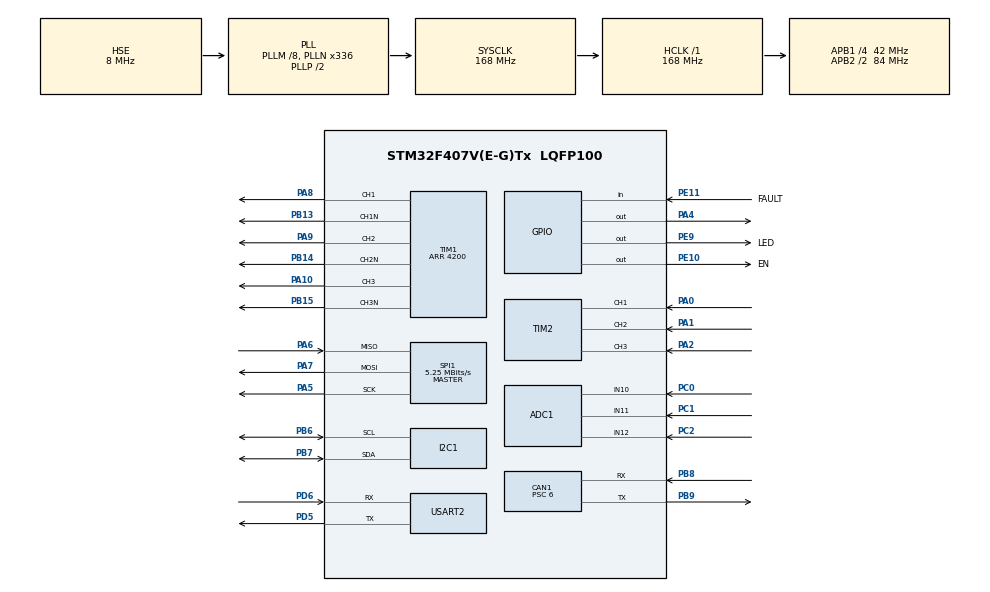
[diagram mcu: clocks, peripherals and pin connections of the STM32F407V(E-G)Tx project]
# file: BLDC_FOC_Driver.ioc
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ADC1.Channel-2\#ChannelRegularConversion=ADC_CHANNEL_10
ADC1.DMAContinuousRequests=ENABLE
ADC1.EOCSelection=ADC_EOC_SEQ_CONV
ADC1.NbrOfConversionFlag=1
ADC1.Rank-2\#ChannelRegularConversion=1
ADC1.SamplingTime-2\#ChannelRegularConversion=ADC_SAMPLETIME_3CYCLES
ADC1.ScanConvMode=ENABLE
ADC1.master=1
CAN1.BS1=CAN_BS1_10TQ
CAN1.BS2=CAN_BS2_3TQ
CAN1.CalculateBaudRate=500000
CAN1.CalculateTimeBit=2000
CAN1.CalculateTimeQuantum=142.85714285714286
CAN1.Prescaler=6
CAN1.SJW=CAN_SJW_1TQ
Dma.ADC1.0.Direction=DMA_PERIPH_TO_MEMORY
Dma.ADC1.0.FIFOMode=DMA_FIFOMODE_DISABLE
Dma.ADC1.0.Instance=DMA2_Stream0
Dma.ADC1.0.MemDataAlignment=DMA_MDATAALIGN_HALFWORD
Dma.ADC1.0.MemInc=DMA_MINC_ENABLE
Dma.ADC1.0.Mode=DMA_NORMAL
Dma.ADC1.0.PeriphDataAlignment=DMA_PDATAALIGN_HALFWORD
Dma.ADC1.0.PeriphInc=DMA_PINC_DISABLE
Dma.ADC1.0.Priority=DMA_PRIORITY_HIGH
Dma.Request0=ADC1
Mcu.Family=STM32F4
Mcu.Name=STM32F407V(E-G)Tx
Mcu.Package=LQFP100
NVIC.ADC_IRQn=true\:2\:0\:true\:false\:true\:true\:true\:true
NVIC.CAN1_RX0_IRQn=true\:2\:0\:true\:false\:true\:true\:true\:true
NVIC.DMA2_Stream0_IRQn=true\:0\:0\:false\:false\:true\:false\:true\:true
NVIC.PriorityGroup=NVIC_PRIORITYGROUP_4
NVIC.TIM1_UP_TIM10_IRQn=true\:0\:0\:false\:false\:true\:true\:true\:true
NVIC.TIM2_IRQn=true\:1\:0\:true\:false\:true\:true\:true\:true
NVIC.TIM6_DAC_IRQn=true\:3\:0\:true\:false\:true\:true\:true\:true
NVIC.USART2_IRQn=true\:2\:0\:true\:false\:true\:true\:true\:true
PA0-WKUP.Signal=S_TIM2_CH1_ETR
PA1.Signal=S_TIM2_CH2
PA10.Signal=S_TIM1_CH3
PA13.Mode=Serial_Wire
PA13.Signal=SYS_JTMS-SWDIO
PA14.Mode=Serial_Wire
PA14.Signal=SYS_JTCK-SWCLK
PA2.Signal=S_TIM2_CH3
PA4.GPIO_Speed=GPIO_SPEED_FREQ_HIGH
PA4.PinState=GPIO_PIN_RESET
PA4.Signal=GPIO_Output
PA5.Mode=Full_Duplex_Master
PA5.Signal=SPI1_SCK
PA6.Mode=Full_Duplex_Master
PA6.Signal=SPI1_MISO
PA7.Mode=Full_Duplex_Master
PA7.Signal=SPI1_MOSI
PA8.Signal=S_TIM1_CH1
PA9.Signal=S_TIM1_CH2
PB13.Mode=PWM Generation1 CH1 CH1N
PB13.Signal=TIM1_CH1N
PB14.Mode=PWM Generation2 CH2 CH2N
PB14.Signal=TIM1_CH2N
PB15.Mode=PWM Generation3 CH3 CH3N
PB15.Signal=TIM1_CH3N
PB6.Mode=I2C
PB6.Signal=I2C1_SCL
PB7.Mode=I2C
PB7.Signal=I2C1_SDA
PB8.Mode=CAN_Activate
PB8.Signal=CAN1_RX
PB9.Mode=CAN_Activate
PB9.Signal=CAN1_TX
PC0.Signal=ADCx_IN10
PC1.Signal=ADCx_IN11
PC2.Signal=ADCx_IN12
PD5.Mode=Asynchronous
PD5.Signal=USART2_TX
PD6.Mode=Asynchronous
PD6.Signal=USART2_RX
PE10.GPIO_Label=EN
PE10.Signal=GPIO_Output
PE11.GPIO_Label=FAULT
PE11.Signal=GPIO_Input
PE9.GPIO_Label=LED
PE9.Signal=GPIO_Output
PH0-OSC_IN.Mode=HSE-External-Oscillator
PH0-OSC_IN.Signal=RCC_OSC_IN
PH1-OSC_OUT.Mode=HSE-External-Oscillator
PH1-OSC_OUT.Signal=RCC_OSC_OUT
ProjectManager.HeapSize=0x200
ProjectManager.StackSize=0x400
ProjectManager.TargetToolchain=MDK-ARM V5.32
RCC.48MHZClocksFreq_Value=84000000
RCC.AHBFreq_Value=168000000
RCC.APB1CLKDivider=RCC_HCLK_DIV4
RCC.APB1Freq_Value=42000000
RCC.APB1TimFreq_Value=84000000
RCC.APB2CLKDivider=RCC_HCLK_DIV2
RCC.APB2Freq_Value=84000000
RCC.APB2TimFreq_Value=168000000
RCC.CortexFreq_Value=168000000
RCC.HCLKFreq_Value=168000000
RCC.HSE_VALUE=8000000
RCC.HSI_VALUE=16000000
RCC.LSE_VALUE=32768
RCC.PLLM=8
RCC.PLLN=336
RCC.PLLSourceVirtual=RCC_PLLSOURCE_HSE
RCC.SYSCLKFreq_VALUE=168000000
RCC.SYSCLKSource=RCC_SYSCLKSOURCE_PLLCLK
RCC.VCOOutputFreq_Value=336000000
SH.ADCx_IN10.0=ADC1_IN10,IN10
SH.ADCx_IN11.0=ADC1_IN11,IN11
SH.ADCx_IN12.0=ADC1_IN12,IN12
SH.S_TIM1_CH1.0=TIM1_CH1,PWM Generation1 CH1 CH1N
SH.S_TIM1_CH2.0=TIM1_CH2,PWM Generation2 CH2 CH2N
SH.S_TIM1_CH3.0=TIM1_CH3,PWM Generation3 CH3 CH3N
SH.S_TIM2_CH1_ETR.0=TIM2_CH1,Xored_Inputs_Hall_Sensor_Interface
SH.S_TIM2_CH2.0=TIM2_CH2,Xored_Inputs_Hall_Sensor_Interface
SH.S_TIM2_CH3.0=TIM2_CH3,Xored_Inputs_Hall_Sensor_Interface
SPI1.BaudRatePrescaler=SPI_BAUDRATEPRESCALER_16
SPI1.CLKPolarity=SPI_POLARITY_LOW
SPI1.CalculateBaudRate=5.25 MBits/s
SPI1.DataSize=SPI_DATASIZE_8BIT
SPI1.Direction=SPI_DIRECTION_2LINES
SPI1.Mode=SPI_MODE_MASTER
SPI1.VirtualType=VM_MASTER
TIM1.AutoReloadPreload=TIM_AUTORELOAD_PRELOAD_ENABLE
TIM1.Channel-PWM\ Generation1\ CH1\ CH1N=TIM_CHANNEL_1
TIM1.Channel-PWM\ Generation2\ CH2\ CH2N=TIM_CHANNEL_2
TIM1.Channel-PWM\ Generation3\ CH3\ CH3N=TIM_CHANNEL_3
TIM1.Period=4200
TIM6.AutoReloadPreload=TIM_AUTORELOAD_PRELOAD_ENABLE
TIM6.Period=10
TIM6.Prescaler=8400
USART2.VirtualMode=VM_ASYNC
VP_TIM1_VS_ClockSourceINT.Mode=Internal
VP_TIM6_VS_ClockSourceINT.Mode=Enable_Timer
board=custom

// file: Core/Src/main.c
/* USER CODE BEGIN Header */
/**
  ******************************************************************************
  * @file           : main.c
  * @brief          : Main program body
  ******************************************************************************
  * @attention
  *
  * Copyright (c) 2026 STMicroelectronics.
  * All rights reserved.
  *
  * This software is licensed under terms that can be found in the LICENSE file
  * in the root directory of this software component.
  * If no LICENSE file comes with this software, it is provided AS-IS.
  *
  ******************************************************************************
  */
/* USER CODE END Header */
#include "main.h"
#include "adc.h"
#include "can.h"
#include "dma.h"
#include "i2c.h"
#include "spi.h"
#include "tim.h"
#include "usart.h"
#include "gpio.h"

/* USER CODE BEGIN Includes */

#include "main.h"
#include "main_control.h"
#include "bldc.h"
#include "encoder.h"
#include "can_comm.h"
#include "rs422_comm.h"
#include "i2c_dev.h"
#include "tim.h"
#include "spi.h"
#include "can.h"
#include "usart.h"
#include "i2c.h"
#include "adc.h"

extern BLDC_Motor_t motor;
extern SystemState_t sys_state;
/* USER CODE END Includes */

void SystemClock_Config(void);
/* USER CODE BEGIN PFP */
void HAL_TIM_PeriodElapsedCallback(TIM_HandleTypeDef *htim)
{
    static uint32_t tick_count = 0;

    if(htim->Instance == TIM6)
    {
        tick_count++;
        System_Update();

        if(tick_count % 500 == 0)
        {
            System_Heartbeat();
        }
    }

    if(htim->Instance == TIM2 || htim->Instance == TIM3 || htim->Instance == TIM4)
    {
        if(motor.mode == COMMUTATION_6STEP)
        {
            BLDC_ReadHallSensors(&motor);
            BLDC_SixStep_Commutation(&motor);
        }
    }
}

/* USER CODE END PFP */

int main(void)
{

  /* MCU Configuration--------------------------------------------------------*/

  /* Reset of all peripherals, Initializes the Flash interface and the Systick. */
  HAL_Init();

  /* Configure the system clock */
  SystemClock_Config();

  /* Initialize all configured peripherals */
  MX_GPIO_Init();
  MX_DMA_Init();
  MX_ADC1_Init();
  MX_CAN1_Init();
  MX_I2C1_Init();
  MX_SPI1_Init();
  MX_TIM1_Init();
  MX_TIM2_Init();
  MX_USART2_UART_Init();
  MX_TIM6_Init();

  /* Infinite loop */
  while (1)
  {

  }
}

void SystemClock_Config(void)
{
  RCC_OscInitTypeDef RCC_OscInitStruct = {0};
  RCC_ClkInitTypeDef RCC_ClkInitStruct = {0};

  /** Configure the main internal regulator output voltage
  */
  __HAL_RCC_PWR_CLK_ENABLE();
  __HAL_PWR_VOLTAGESCALING_CONFIG(PWR_REGULATOR_VOLTAGE_SCALE1);

  /** Initializes the RCC Oscillators according to the specified parameters
  * in the RCC_OscInitTypeDef structure.
  */
  RCC_OscInitStruct.OscillatorType = RCC_OSCILLATORTYPE_HSE;
  RCC_OscInitStruct.HSEState = RCC_HSE_ON;
  RCC_OscInitStruct.PLL.PLLState = RCC_PLL_ON;
  RCC_OscInitStruct.PLL.PLLSource = RCC_PLLSOURCE_HSE;
  RCC_OscInitStruct.PLL.PLLM = 8;
  RCC_OscInitStruct.PLL.PLLN = 336;
  RCC_OscInitStruct.PLL.PLLP = RCC_PLLP_DIV2;
  RCC_OscInitStruct.PLL.PLLQ = 4;
  if (HAL_RCC_OscConfig(&RCC_OscInitStruct) != HAL_OK)
  {
    Error_Handler();
  }

  /** Initializes the CPU, AHB and APB buses clocks
  */
  RCC_ClkInitStruct.ClockType = RCC_CLOCKTYPE_HCLK|RCC_CLOCKTYPE_SYSCLK
                              |RCC_CLOCKTYPE_PCLK1|RCC_CLOCKTYPE_PCLK2;
  RCC_ClkInitStruct.SYSCLKSource = RCC_SYSCLKSOURCE_PLLCLK;
  RCC_ClkInitStruct.AHBCLKDivider = RCC_SYSCLK_DIV1;
  RCC_ClkInitStruct.APB1CLKDivider = RCC_HCLK_DIV4;
  RCC_ClkInitStruct.APB2CLKDivider = RCC_HCLK_DIV2;

  if (HAL_RCC_ClockConfig(&RCC_ClkInitStruct, FLASH_LATENCY_5) != HAL_OK)
  {
    Error_Handler();
  }
}

void Error_Handler(void)
{
  __disable_irq();
  while (1)
  {
  }
}
